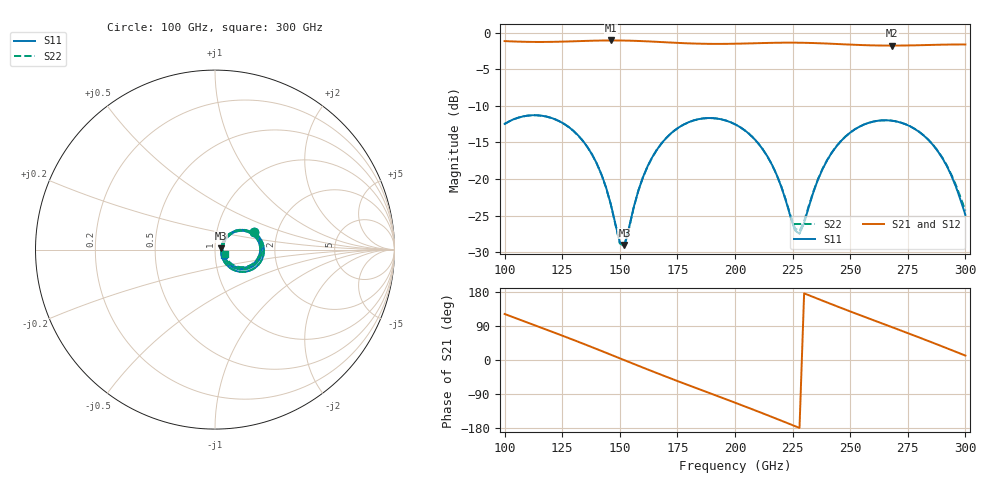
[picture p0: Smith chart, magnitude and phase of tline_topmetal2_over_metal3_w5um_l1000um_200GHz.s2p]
#  GHZ S DB R 50
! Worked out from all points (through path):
!   101 points, 100 GHz to 300 GHz, reference 50 ohm
!   highest |S21| = -1.08 dB at 146 GHz (marker M1); lowest = -1.8 dB at 268 GHz (marker M2)
!   group delay of S21, straight-line fit = 6.54 ps
!   lowest |S11| = -29.0 dB at 152 GHz (marker M3), VSWR 1.07, Z = 53.6 + j0.699 ohm
!   |S11| at or under -10 dB: start of sweep to end of sweep
!   |S22| runs from -29.2 to -11.3 dB; largest |S21 - S12| = 1e-13
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100  -12.47 23.9  -1.17 121.4  -1.17 121.4  -12.48 23.9
118  -11.46 -11.9  -1.28 80.4  -1.28 80.4  -11.46 -11.9
134  -14.79 -42.4  -1.15 43.2  -1.15 43.2  -14.81 -42.5
140  -17.87 -51.1  -1.10 28.8  -1.10 28.8  -17.89 -51.2
146  -23.32 -50.1  -1.08 14.2  -1.08 14.2  -23.37 -50.4
150  -28.63 -21.3  -1.09 4.5  -1.09 4.5  -28.79 -21.5
152  -29.00 10.6  -1.10 -0.4  -1.10 -0.4  -29.16 11.1
160  -19.79 48.3  -1.18 -19.9  -1.18 -19.9  -19.81 48.8
168  -15.17 38.9  -1.30 -39.0  -1.30 -39.0  -15.18 39.3
184  -11.83 9.2  -1.52 -76.0  -1.52 -76.0  -11.84 9.7
200  -12.51 -21.3  -1.53 -112.6  -1.53 -112.6  -12.52 -20.7
214  -16.88 -44.0  -1.42 -145.4  -1.42 -145.4  -16.87 -43.1
226  -27.00 -17.9  -1.38 -174.4  -1.38 -174.4  -26.71 -16.5
228  -27.47 6.2  -1.39 -179.3  -1.39 -179.3  -27.13 6.5
234  -21.81 43.6  -1.43 166.2  -1.43 166.2  -21.71 43.0
240  -17.43 43.4  -1.50 151.8  -1.50 151.8  -17.39 43.1
248  -14.19 32.0  -1.62 132.9  -1.62 132.9  -14.18 32.1
258  -12.33 14.0  -1.74 109.8  -1.74 109.8  -12.32 14.3
268  -12.03 -4.8  -1.78 87.0  -1.78 87.0  -12.03 -4.2
286  -15.37 -36.4  -1.68 45.2  -1.68 45.2  -15.34 -34.9
294  -19.59 -43.5  -1.64 26.1  -1.64 26.1  -19.45 -40.8
300  -24.91 -29.7  -1.63 11.6  -1.63 11.6  -24.31 -25.9
